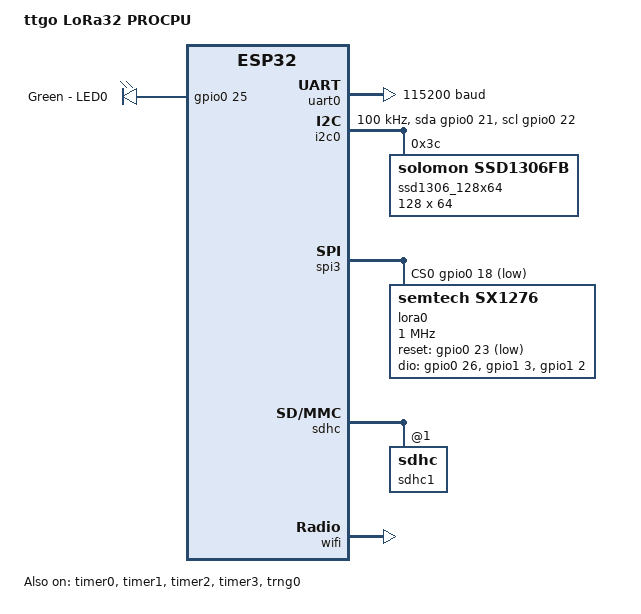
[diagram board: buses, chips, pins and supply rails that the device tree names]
/*
 * Copyright (c) 2024 Lothar Felten <lothar.felten@gmail.com>
 *
 * SPDX-License-Identifier: Apache-2.0
 */
/dts-v1/;

#include <espressif/esp32/esp32_pico_d4.dtsi>
#include "ttgo_lora32-pinctrl.dtsi"
#include <zephyr/dt-bindings/input/input-event-codes.h>
#include <espressif/partitions_0x1000_amp.dtsi>

/ {
	model = "ttgo LoRa32 PROCPU";
	compatible = "lilygo,ttgo-lora32";

	aliases {
		led0 = &green_led;
		uart-0 = &uart0;
		i2c-0 = &i2c0;
		watchdog0 = &wdt0;
		sdhc0 = &sdhc1;
		lora0 = &lora0;
	};

	chosen {
		zephyr,sram = &sram1;
		zephyr,console = &uart0;
		zephyr,shell-uart = &uart0;
		zephyr,flash = &flash0;
		zephyr,code-partition = &slot0_partition;
		zephyr,display = &ssd1306_128x64;
		zephyr,sdhc = &sdhc1;
	};

	leds {
		compatible = "gpio-leds";

		green_led: led_0 {
			gpios = <&gpio0 25 GPIO_ACTIVE_HIGH>;
			label = "Green - LED0";
		};
	};
};

&uart0 {
	status = "okay";
	current-speed = <115200>;
	pinctrl-0 = <&uart0_default>;
	pinctrl-names = "default";
};

&gpio0 {
	status = "okay";
};

&gpio1 {
	status = "okay";
};

/* OLED display */
&i2c0 {
	status = "okay";
	clock-frequency = <I2C_BITRATE_STANDARD>;
	sda-gpios = <&gpio0 21 GPIO_OPEN_DRAIN>;
	scl-gpios = <&gpio0 22 GPIO_OPEN_DRAIN>;
	pinctrl-0 = <&i2c0_default>;
	pinctrl-names = "default";

	ssd1306_128x64: ssd1306@3c {
		compatible = "solomon,ssd1306fb";
		reg = <0x3c>;
		width = <128>;
		height = <64>;
		segment-offset = <0>;
		page-offset = <0>;
		display-offset = <0>;
		multiplex-ratio = <63>;
		segment-remap;
		com-invdir;
		prechargep = <0x22>;
	};
};

&spi3 {
	#address-cells = <1>;
	#size-cells = <0>;
	status = "okay";
	pinctrl-0 = <&spim3_default>;
	pinctrl-names = "default";
	cs-gpios = <&gpio0 18 GPIO_ACTIVE_LOW>;

	lora0: lora@0 {
		compatible = "semtech,sx1276";
		reg = <0>;
		reset-gpios = <&gpio0 23 GPIO_ACTIVE_LOW>;
		dio-gpios =
			    /* SX1276 D0 -> GPIO26 */
			    <&gpio0 26 (GPIO_PULL_DOWN | GPIO_ACTIVE_HIGH)>,
			    /* SX1276 D1 -> GPIO35 */
			    <&gpio1 3 (GPIO_PULL_DOWN | GPIO_ACTIVE_HIGH)>,
			    /* SX1276 D1 -> GPIO34 */
			    <&gpio1 2 (GPIO_PULL_DOWN | GPIO_ACTIVE_HIGH)>;
		spi-max-frequency = <1000000>;
		power-amplifier-output = "pa-boost";
	};
};

&timer0 {
	status = "okay";
};

&timer1 {
	status = "okay";
};

&timer2 {
	status = "okay";
};

&timer3 {
	status = "okay";
};

&trng0 {
	status = "okay";
};

&sdhc {
	sdhc1: sdhc@1 {
		status = "okay";

		pinctrl-0 = <&sdhc0_default>;
		pinctrl-names = "default";
		power-delay-ms = <100>;
		max-bus-freq = <52000000>;
		bus-width = <4>;

		clk-pin = <14>;
		cmd-pin = <15>;
		d0-pin = <2>;
		d1-pin = <4>;
		d2-pin = <12>;
		d3-pin = <13>;

		mmc {
			compatible = "zephyr,sdmmc-disk";
			disk-name = "SD";
			status = "okay";
		};
	};
};

&wifi {
	status = "okay";
};
